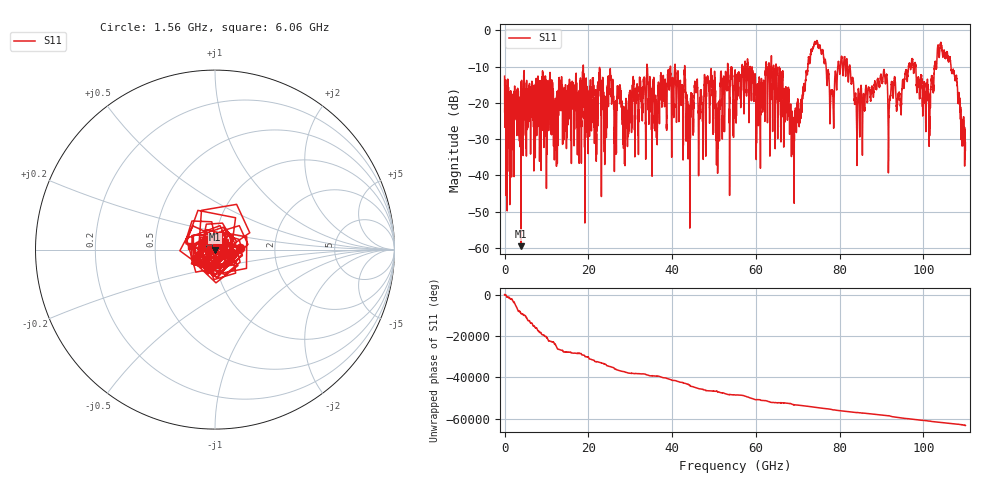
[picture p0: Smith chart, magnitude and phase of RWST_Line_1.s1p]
#  HZ  S  RI  R  50.00
! Rohde & Schwarz ZVA67 4Ports - Version 4.11 - 1305.7002k04 SN: 101032
! Date: 2026-02-18 15:10:36
! Measurement: a1d2/b1d2sam
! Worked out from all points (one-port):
!   5500 points, 20 MHz to 110 GHz, reference 50 ohm
!   lowest |S11| = -59.5 dB at 3.94 GHz (marker M1), VSWR 1.00, Z = 49.9 - j0.000127 ohm
!   |S11| at or under -10 dB: start of sweep to 18.8 GHz; 18.81 GHz to 33.97 GHz (15.17 GHz wide, 57.5 % of centre); 82.47 GHz to 96.43 GHz (13.96 GHz wide, 15.6 % of centre)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
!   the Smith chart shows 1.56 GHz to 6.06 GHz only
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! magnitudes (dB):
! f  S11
! 20 MHz  -12.6
! 3.94 GHz  -59.5
! 13.78 GHz  -17.3
! 27.52 GHz  -16.5
! 28.8 GHz  -28.1
! 30.36 GHz  -19.6
! 41.28 GHz  -11.6
! 43.84 GHz  -31.9
! 45.68 GHz  -16.1
! 46.82 GHz  -18.5
! 49.72 GHz  -18.6
! 50.9 GHz  -29.3
! 53.08 GHz  -16.7
! 55.02 GHz  -11.0
! 63.96 GHz  -20.2
! 68.76 GHz  -27.5
! 74.22 GHz  -3.8
! 78.12 GHz  -17.3
! 80.06 GHz  -11.9
! 82.52 GHz  -10.6
! 84.4 GHz  -16.5
! 90.26 GHz  -14.2
! 94.16 GHz  -17.8
! 96.26 GHz  -12.2
! 101 GHz  -15.4
! 104.5 GHz  -6.2
! 107.6 GHz  -13.0
! 110 GHz  -31.0
